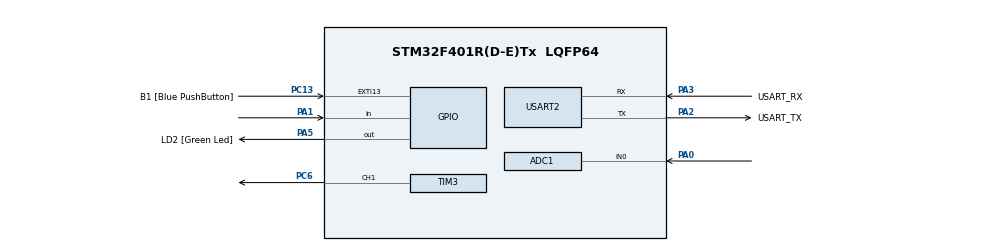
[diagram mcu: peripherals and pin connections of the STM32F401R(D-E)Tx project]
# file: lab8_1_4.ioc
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ADC1.Channel-0\#ChannelRegularConversion=ADC_CHANNEL_0
ADC1.ContinuousConvMode=ENABLE
ADC1.EOCSelection=ADC_EOC_SEQ_CONV
ADC1.NbrOfConversionFlag=1
ADC1.Rank-0\#ChannelRegularConversion=1
ADC1.Resolution=ADC_RESOLUTION_8B
ADC1.SamplingTime-0\#ChannelRegularConversion=ADC_SAMPLETIME_3CYCLES
ADC1.master=1
Mcu.Family=STM32F4
Mcu.Name=STM32F401R(D-E)Tx
Mcu.Package=LQFP64
NVIC.PriorityGroup=NVIC_PRIORITYGROUP_0
PA0-WKUP.Signal=ADCx_IN0
PA1.Signal=GPIO_Input
PA13.GPIO_Label=TMS
PA13.Mode=Serial_Wire
PA13.Signal=SYS_JTMS-SWDIO
PA14.GPIO_Label=TCK
PA14.Mode=Serial_Wire
PA14.Signal=SYS_JTCK-SWCLK
PA2.GPIO_Label=USART_TX
PA2.GPIO_Mode=GPIO_MODE_AF_PP
PA2.GPIO_PuPd=GPIO_NOPULL
PA2.GPIO_Speed=GPIO_SPEED_FREQ_LOW
PA2.Mode=Asynchronous
PA2.Signal=USART2_TX
PA3.GPIO_Label=USART_RX
PA3.GPIO_Mode=GPIO_MODE_AF_PP
PA3.GPIO_PuPd=GPIO_NOPULL
PA3.GPIO_Speed=GPIO_SPEED_FREQ_LOW
PA3.Mode=Asynchronous
PA3.Signal=USART2_RX
PA5.GPIO_Label=LD2 [Green Led]
PA5.GPIO_Mode=GPIO_MODE_OUTPUT_PP
PA5.GPIO_PuPd=GPIO_NOPULL
PA5.GPIO_Speed=GPIO_SPEED_FREQ_LOW
PA5.Signal=GPIO_Output
PB3.GPIO_Label=SWO
PB3.Signal=SYS_JTDO-SWO
PC13-ANTI_TAMP.GPIO_Label=B1 [Blue PushButton]
PC13-ANTI_TAMP.GPIO_ModeDefaultEXTI=GPIO_MODE_IT_FALLING
PC13-ANTI_TAMP.GPIO_PuPd=GPIO_NOPULL
PC13-ANTI_TAMP.Signal=GPXTI13
PC14-OSC32_IN.Mode=LSE-External-Oscillator
PC14-OSC32_IN.Signal=RCC_OSC32_IN
PC15-OSC32_OUT.Mode=LSE-External-Oscillator
PC15-OSC32_OUT.Signal=RCC_OSC32_OUT
PC6.Signal=S_TIM3_CH1
PC7.Signal=S_TIM3_CH2
PH0\ -\ OSC_IN.Mode=HSE-External-Clock-Source
PH0\ -\ OSC_IN.Signal=RCC_OSC_IN
PH1\ -\ OSC_OUT.Mode=HSE-External-Clock-Source
PH1\ -\ OSC_OUT.Signal=RCC_OSC_OUT
ProjectManager.HeapSize=0x200
ProjectManager.StackSize=0x400
ProjectManager.TargetToolchain=STM32CubeIDE
RCC.48MHZClocksFreq_Value=48000000
RCC.AHBFreq_Value=84000000
RCC.APB1CLKDivider=RCC_HCLK_DIV2
RCC.APB1Freq_Value=42000000
RCC.APB1TimFreq_Value=84000000
RCC.APB2Freq_Value=84000000
RCC.APB2TimFreq_Value=84000000
RCC.CortexFreq_Value=84000000
RCC.HCLKFreq_Value=84000000
RCC.HSE_VALUE=8000000
RCC.HSI_VALUE=16000000
RCC.PLLN=336
RCC.PLLP=RCC_PLLP_DIV4
RCC.PLLQ=7
RCC.SYSCLKFreq_VALUE=84000000
RCC.SYSCLKSource=RCC_SYSCLKSOURCE_PLLCLK
RCC.VCOOutputFreq_Value=336000000
SH.ADCx_IN0.0=ADC1_IN0,IN0
SH.S_TIM3_CH1.0=TIM3_CH1,Output Compare1 CH1
SH.S_TIM3_CH2.0=TIM3_CH2
TIM3.Channel-Output\ Compare1\ CH1=TIM_CHANNEL_1
TIM3.OCMode_1=TIM_OCMODE_TOGGLE
USART2.VirtualMode=VM_ASYNC
VP_TIM3_VS_ClockSourceINT.Mode=Internal
board=NUCLEO-F401RE

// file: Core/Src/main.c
/* USER CODE BEGIN Header */
/**
  ******************************************************************************
  * @file           : main.c
  * @brief          : Main program body
  ******************************************************************************
  * @attention
  *
  * Copyright (c) 2023 STMicroelectronics.
  * All rights reserved.
  *
  * This software is licensed under terms that can be found in the LICENSE file
  * in the root directory of this software component.
  * If no LICENSE file comes with this software, it is provided AS-IS.
  *
  ******************************************************************************
  */
/* USER CODE END Header */
#include "main.h"

/* USER CODE BEGIN PD */
#define fmax 4500	// Hz
#define fmin 800	// Hz
#define fclk 84e6	// Hz
#define potmax 255

/* USER CODE END PD */

void SystemClock_Config(void);
static void MX_GPIO_Init(void);
static void MX_USART2_UART_Init(void);
static void MX_TIM3_Init(void);
static void MX_ADC1_Init(void);

int main(void)
{

  /* MCU Configuration--------------------------------------------------------*/

  /* Reset of all peripherals, Initializes the Flash interface and the Systick. */

  LL_APB2_GRP1_EnableClock(LL_APB2_GRP1_PERIPH_SYSCFG);
  LL_APB1_GRP1_EnableClock(LL_APB1_GRP1_PERIPH_PWR);

  NVIC_SetPriorityGrouping(NVIC_PRIORITYGROUP_0);

  /* System interrupt init*/

  /* Configure the system clock */
  SystemClock_Config();

  /* Initialize all configured peripherals */
  MX_GPIO_Init();
  MX_USART2_UART_Init();
  MX_TIM3_Init();
  MX_ADC1_Init();

  /* Infinite loop */
  /* USER CODE BEGIN WHILE */
  LL_ADC_WriteReg(ADC1, CR2, LL_ADC_ReadReg(ADC1, CR2) | 1); // set ADON to 1
  LL_ADC_WriteReg(ADC1, CR2, LL_ADC_ReadReg(ADC1, CR2) | (1 << 30)); // set SWSTART to 1

  LL_TIM_WriteReg(TIM3, CCR1, fclk/(2*fmin));  // set initial threshold
  LL_TIM_WriteReg(TIM3, SR, LL_TIM_ReadReg(TIM3, SR) & ~0x2);   // delete OC flag channel 1
  LL_TIM_WriteReg(TIM3, CR1, LL_TIM_ReadReg(TIM3, CR1) | 0x1);  // counter enable channel 1

  uint8_t pot = 0;

  SysTick_Config(SystemCoreClock / 1000);
  while (1)
  {
    /* USER CODE END WHILE */

    /* USER CODE BEGIN 3 */

	  if (LL_TIM_ReadReg(TIM3, SR) & 0x2){ // if timer reaches threshold
		  	LL_TIM_WriteReg(TIM3, SR, LL_TIM_ReadReg(TIM3, SR) & ~0x2); // turn off flag channel 1
		  	float f = fmin + (pot/((float)potmax))*(fmax-fmin);
			uint16_t val = fclk / (2*f);
			LL_TIM_WriteReg(TIM3, CCR1, LL_TIM_ReadReg(TIM3, CCR1) + val); // set next threshold
	  }

	  if(LL_ADC_ReadReg(ADC1, SR) & (1 << 1)){ // read EOC bit: if ADC finishes conversion
			LL_ADC_WriteReg(ADC1, SR, LL_ADC_ReadReg(ADC1, SR) & ~(1 << 1)); // reset EOC bit
			pot = (uint8_t)(LL_ADC_ReadReg(ADC1, DR) & 0xFFFF); // read pot current value
	  }
  }
  /* USER CODE END 3 */
}

void SystemClock_Config(void)
{
  LL_FLASH_SetLatency(LL_FLASH_LATENCY_2);
  while(LL_FLASH_GetLatency()!= LL_FLASH_LATENCY_2)
  {
  }
  LL_PWR_SetRegulVoltageScaling(LL_PWR_REGU_VOLTAGE_SCALE2);
  LL_RCC_HSI_SetCalibTrimming(16);
  LL_RCC_HSI_Enable();

   /* Wait till HSI is ready */
  while(LL_RCC_HSI_IsReady() != 1)
  {

  }
  LL_RCC_PLL_ConfigDomain_SYS(LL_RCC_PLLSOURCE_HSI, LL_RCC_PLLM_DIV_16, 336, LL_RCC_PLLP_DIV_4);
  LL_RCC_PLL_Enable();

   /* Wait till PLL is ready */
  while(LL_RCC_PLL_IsReady() != 1)
  {

  }
  LL_RCC_SetAHBPrescaler(LL_RCC_SYSCLK_DIV_1);
  LL_RCC_SetAPB1Prescaler(LL_RCC_APB1_DIV_2);
  LL_RCC_SetAPB2Prescaler(LL_RCC_APB2_DIV_1);
  LL_RCC_SetSysClkSource(LL_RCC_SYS_CLKSOURCE_PLL);

   /* Wait till System clock is ready */
  while(LL_RCC_GetSysClkSource() != LL_RCC_SYS_CLKSOURCE_STATUS_PLL)
  {

  }
  LL_Init1msTick(84000000);
  LL_SetSystemCoreClock(84000000);
  LL_RCC_SetTIMPrescaler(LL_RCC_TIM_PRESCALER_TWICE);
}

static void MX_ADC1_Init(void)
{

  LL_ADC_InitTypeDef ADC_InitStruct = {0};
  LL_ADC_REG_InitTypeDef ADC_REG_InitStruct = {0};
  LL_ADC_CommonInitTypeDef ADC_CommonInitStruct = {0};

  LL_GPIO_InitTypeDef GPIO_InitStruct = {0};

  /* Peripheral clock enable */
  LL_APB2_GRP1_EnableClock(LL_APB2_GRP1_PERIPH_ADC1);

  LL_AHB1_GRP1_EnableClock(LL_AHB1_GRP1_PERIPH_GPIOA);
  /**ADC1 GPIO Configuration
  PA0-WKUP   ------> ADC1_IN0
  */
  GPIO_InitStruct.Pin = LL_GPIO_PIN_0;
  GPIO_InitStruct.Mode = LL_GPIO_MODE_ANALOG;
  GPIO_InitStruct.Pull = LL_GPIO_PULL_NO;
  LL_GPIO_Init(GPIOA, &GPIO_InitStruct);

  /** Common config
  */
  ADC_InitStruct.Resolution = LL_ADC_RESOLUTION_8B;
  ADC_InitStruct.DataAlignment = LL_ADC_DATA_ALIGN_RIGHT;
  ADC_InitStruct.SequencersScanMode = LL_ADC_SEQ_SCAN_DISABLE;
  LL_ADC_Init(ADC1, &ADC_InitStruct);
  ADC_REG_InitStruct.TriggerSource = LL_ADC_REG_TRIG_SOFTWARE;
  ADC_REG_InitStruct.SequencerLength = LL_ADC_REG_SEQ_SCAN_DISABLE;
  ADC_REG_InitStruct.SequencerDiscont = LL_ADC_REG_SEQ_DISCONT_DISABLE;
  ADC_REG_InitStruct.ContinuousMode = LL_ADC_REG_CONV_CONTINUOUS;
  ADC_REG_InitStruct.DMATransfer = LL_ADC_REG_DMA_TRANSFER_NONE;
  LL_ADC_REG_Init(ADC1, &ADC_REG_InitStruct);
  LL_ADC_REG_SetFlagEndOfConversion(ADC1, LL_ADC_REG_FLAG_EOC_SEQUENCE_CONV);
  ADC_CommonInitStruct.CommonClock = LL_ADC_CLOCK_SYNC_PCLK_DIV4;
  LL_ADC_CommonInit(__LL_ADC_COMMON_INSTANCE(ADC1), &ADC_CommonInitStruct);
  /** Configure Regular Channel
  */
  LL_ADC_REG_SetSequencerRanks(ADC1, LL_ADC_REG_RANK_1, LL_ADC_CHANNEL_0);
  LL_ADC_SetChannelSamplingTime(ADC1, LL_ADC_CHANNEL_0, LL_ADC_SAMPLINGTIME_3CYCLES);

}

static void MX_TIM3_Init(void)
{

  LL_TIM_InitTypeDef TIM_InitStruct = {0};
  LL_TIM_OC_InitTypeDef TIM_OC_InitStruct = {0};

  LL_GPIO_InitTypeDef GPIO_InitStruct = {0};

  /* Peripheral clock enable */
  LL_APB1_GRP1_EnableClock(LL_APB1_GRP1_PERIPH_TIM3);

  LL_AHB1_GRP1_EnableClock(LL_AHB1_GRP1_PERIPH_GPIOC);
  /**TIM3 GPIO Configuration
  PC7   ------> TIM3_CH2
  */
  GPIO_InitStruct.Pin = LL_GPIO_PIN_7;
  GPIO_InitStruct.Mode = LL_GPIO_MODE_ALTERNATE;
  GPIO_InitStruct.Speed = LL_GPIO_SPEED_FREQ_LOW;
  GPIO_InitStruct.OutputType = LL_GPIO_OUTPUT_PUSHPULL;
  GPIO_InitStruct.Pull = LL_GPIO_PULL_NO;
  GPIO_InitStruct.Alternate = LL_GPIO_AF_2;
  LL_GPIO_Init(GPIOC, &GPIO_InitStruct);

  TIM_InitStruct.Prescaler = 0;
  TIM_InitStruct.CounterMode = LL_TIM_COUNTERMODE_UP;
  TIM_InitStruct.Autoreload = 65535;
  TIM_InitStruct.ClockDivision = LL_TIM_CLOCKDIVISION_DIV1;
  LL_TIM_Init(TIM3, &TIM_InitStruct);
  LL_TIM_DisableARRPreload(TIM3);
  LL_TIM_SetClockSource(TIM3, LL_TIM_CLOCKSOURCE_INTERNAL);
  TIM_OC_InitStruct.OCMode = LL_TIM_OCMODE_TOGGLE;
  TIM_OC_InitStruct.OCState = LL_TIM_OCSTATE_ENABLE;
  TIM_OC_InitStruct.OCNState = LL_TIM_OCSTATE_DISABLE;
  TIM_OC_InitStruct.CompareValue = 0;
  TIM_OC_InitStruct.OCPolarity = LL_TIM_OCPOLARITY_HIGH;
  LL_TIM_OC_Init(TIM3, LL_TIM_CHANNEL_CH1, &TIM_OC_InitStruct);
  LL_TIM_OC_DisableFast(TIM3, LL_TIM_CHANNEL_CH1);
  LL_TIM_SetTriggerOutput(TIM3, LL_TIM_TRGO_RESET);
  LL_TIM_DisableMasterSlaveMode(TIM3);
  LL_AHB1_GRP1_EnableClock(LL_AHB1_GRP1_PERIPH_GPIOC);
  /**TIM3 GPIO Configuration
  PC6   ------> TIM3_CH1
  */
  GPIO_InitStruct.Pin = LL_GPIO_PIN_6;
  GPIO_InitStruct.Mode = LL_GPIO_MODE_ALTERNATE;
  GPIO_InitStruct.Speed = LL_GPIO_SPEED_FREQ_LOW;
  GPIO_InitStruct.OutputType = LL_GPIO_OUTPUT_PUSHPULL;
  GPIO_InitStruct.Pull = LL_GPIO_PULL_NO;
  GPIO_InitStruct.Alternate = LL_GPIO_AF_2;
  LL_GPIO_Init(GPIOC, &GPIO_InitStruct);

}

static void MX_USART2_UART_Init(void)
{

  LL_USART_InitTypeDef USART_InitStruct = {0};

  LL_GPIO_InitTypeDef GPIO_InitStruct = {0};

  /* Peripheral clock enable */
  LL_APB1_GRP1_EnableClock(LL_APB1_GRP1_PERIPH_USART2);

  LL_AHB1_GRP1_EnableClock(LL_AHB1_GRP1_PERIPH_GPIOA);
  /**USART2 GPIO Configuration
  PA2   ------> USART2_TX
  PA3   ------> USART2_RX
  */
  GPIO_InitStruct.Pin = USART_TX_Pin|USART_RX_Pin;
  GPIO_InitStruct.Mode = LL_GPIO_MODE_ALTERNATE;
  GPIO_InitStruct.Speed = LL_GPIO_SPEED_FREQ_LOW;
  GPIO_InitStruct.OutputType = LL_GPIO_OUTPUT_PUSHPULL;
  GPIO_InitStruct.Pull = LL_GPIO_PULL_NO;
  GPIO_InitStruct.Alternate = LL_GPIO_AF_7;
  LL_GPIO_Init(GPIOA, &GPIO_InitStruct);

  USART_InitStruct.BaudRate = 115200;
  USART_InitStruct.DataWidth = LL_USART_DATAWIDTH_8B;
  USART_InitStruct.StopBits = LL_USART_STOPBITS_1;
  USART_InitStruct.Parity = LL_USART_PARITY_NONE;
  USART_InitStruct.TransferDirection = LL_USART_DIRECTION_TX_RX;
  USART_InitStruct.HardwareFlowControl = LL_USART_HWCONTROL_NONE;
  USART_InitStruct.OverSampling = LL_USART_OVERSAMPLING_16;
  LL_USART_Init(USART2, &USART_InitStruct);
  LL_USART_ConfigAsyncMode(USART2);
  LL_USART_Enable(USART2);

}

static void MX_GPIO_Init(void)
{
  LL_EXTI_InitTypeDef EXTI_InitStruct = {0};
  LL_GPIO_InitTypeDef GPIO_InitStruct = {0};

  /* GPIO Ports Clock Enable */
  LL_AHB1_GRP1_EnableClock(LL_AHB1_GRP1_PERIPH_GPIOC);
  LL_AHB1_GRP1_EnableClock(LL_AHB1_GRP1_PERIPH_GPIOH);
  LL_AHB1_GRP1_EnableClock(LL_AHB1_GRP1_PERIPH_GPIOA);
  LL_AHB1_GRP1_EnableClock(LL_AHB1_GRP1_PERIPH_GPIOB);

  /**/
  LL_GPIO_ResetOutputPin(LD2_GPIO_Port, LD2_Pin);

  /**/
  LL_SYSCFG_SetEXTISource(LL_SYSCFG_EXTI_PORTC, LL_SYSCFG_EXTI_LINE13);

  /**/
  EXTI_InitStruct.Line_0_31 = LL_EXTI_LINE_13;
  EXTI_InitStruct.LineCommand = ENABLE;
  EXTI_InitStruct.Mode = LL_EXTI_MODE_IT;
  EXTI_InitStruct.Trigger = LL_EXTI_TRIGGER_FALLING;
  LL_EXTI_Init(&EXTI_InitStruct);

  /**/
  LL_GPIO_SetPinPull(B1_GPIO_Port, B1_Pin, LL_GPIO_PULL_NO);

  /**/
  LL_GPIO_SetPinMode(B1_GPIO_Port, B1_Pin, LL_GPIO_MODE_INPUT);

  /**/
  GPIO_InitStruct.Pin = LL_GPIO_PIN_1;
  GPIO_InitStruct.Mode = LL_GPIO_MODE_INPUT;
  GPIO_InitStruct.Pull = LL_GPIO_PULL_NO;
  LL_GPIO_Init(GPIOA, &GPIO_InitStruct);

  /**/
  GPIO_InitStruct.Pin = LD2_Pin;
  GPIO_InitStruct.Mode = LL_GPIO_MODE_OUTPUT;
  GPIO_InitStruct.Speed = LL_GPIO_SPEED_FREQ_LOW;
  GPIO_InitStruct.OutputType = LL_GPIO_OUTPUT_PUSHPULL;
  GPIO_InitStruct.Pull = LL_GPIO_PULL_NO;
  LL_GPIO_Init(LD2_GPIO_Port, &GPIO_InitStruct);

}

void Error_Handler(void)
{
  __disable_irq();
  while (1)
  {
  }
}
